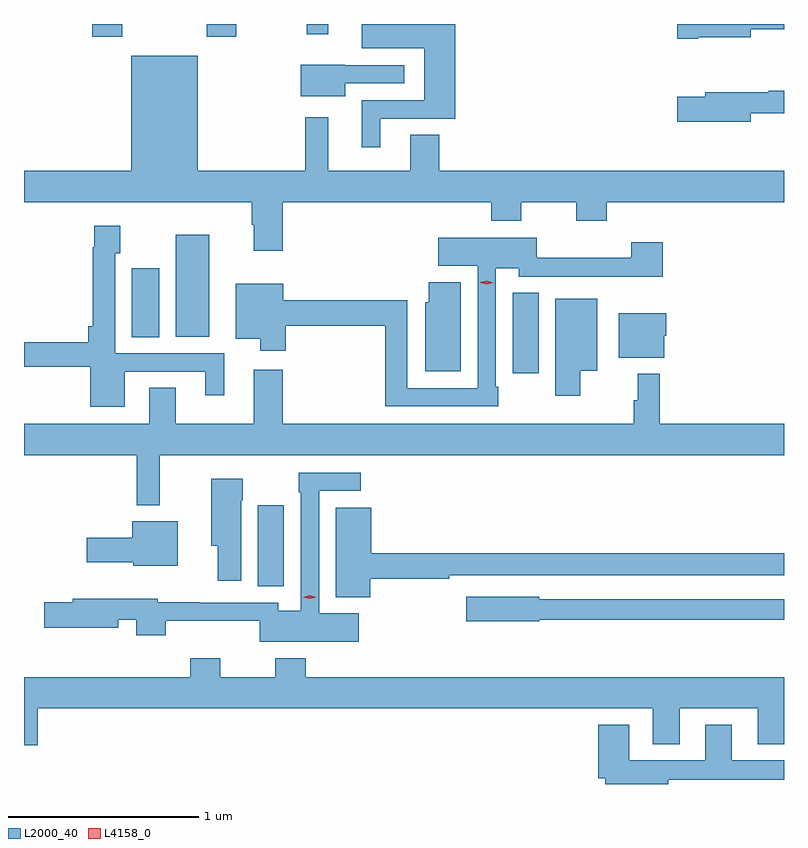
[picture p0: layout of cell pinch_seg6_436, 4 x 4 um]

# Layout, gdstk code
import gdstk
lib = gdstk.Library(unit=1e-6, precision=1e-09)
def R(c, l, rs):  # rectangles x0, y0, x1, y1
    for r in rs: c.add(gdstk.rectangle(r[:2], r[2:], *l))
def P(c, l, *ps):  # polygons
    for p in ps: c.add(gdstk.Polygon(p, *l))
L2000_40 = (2000, 40)
L4158_0 = (4158, 0)

pinch_seg6_436 = lib.new_cell('pinch_seg6_436')
R(pinch_seg6_436, L2000_40, [(707.474,921.337,707.611,921.763), (708.815,922.458,708.952,922.883), (706.811,922.648,706.954,923.011), (707.042,922.652,707.218,923.188), (706.601,924.231,706.761,924.297), (707.206,924.231,707.361,924.297), (707.731,924.243,707.845,924.297)])
P(pinch_seg6_436, L2000_40, [(708.118,923.799),(708.514,923.799),(708.514,924.297),(708.02,924.297),(708.02,924.17),(708.35,924.17),(708.35,923.895),(708.02,923.895),(708.02,923.649),(708.118,923.649)],
  [(709.792,924.227),(710.068,924.227),(710.068,924.27),(710.243,924.27),(710.243,924.297),(709.68,924.297),(709.68,924.22),(709.792,924.22)],
  [(707.606,923.36),(708.701,923.36),(708.701,923.261),(708.861,923.261),(708.861,923.36),(709.15,923.36),(709.15,923.261),(709.31,923.261),(709.31,923.36),(710.243,923.36),(710.243,923.524),(708.428,923.524),(708.428,923.714),(708.275,923.714),(708.275,923.524),(707.845,923.524),(707.845,923.806),(707.724,923.806),(707.724,923.524),(707.158,923.524),(707.158,924.13),(706.808,924.13),(706.808,923.524),(706.243,923.524),(706.243,923.36),(707.441,923.36),(707.441,923.24),(707.453,923.24),(707.453,923.103),(707.606,923.103)],
  [(707.935,923.985),(708.244,923.985),(708.244,924.081),(707.931,924.081),(707.931,924.082),(707.7,924.082),(707.7,923.918),(707.935,923.918)],
  [(710.068,923.826),(710.243,923.826),(710.243,923.947),(710.164,923.947),(710.164,923.939),(709.829,923.939),(709.829,923.913),(709.68,923.913),(709.68,923.783),(710.068,923.783)],
  [(706.774,922.467),(707.198,922.467),(707.198,922.344),(707.296,922.344),(707.296,922.563),(706.722,922.563),(706.722,923.091),(706.749,923.091),(706.749,923.236),(706.614,923.236),(706.614,923.123),(706.606,923.123),(706.606,922.705),(706.58,922.705),(706.58,922.622),(706.243,922.622),(706.243,922.494),(706.592,922.494),(706.592,922.283),(706.774,922.283)],
  [(708.739,922.387),(708.726,922.387),(708.726,923.012),(708.846,923.012),(708.846,922.968),(709.357,922.968),(709.357,922.967),(709.604,922.967),(709.604,923.149),(709.439,923.149),(709.439,923.066),(708.942,923.066),(708.942,923.173),(708.423,923.173),(708.423,923.024),(708.63,923.024),(708.63,922.38),(708.261,922.38),(708.261,922.844),(707.608,922.844),(707.608,922.93),(707.357,922.93),(707.357,922.64),(707.486,922.64),(707.486,922.578),(707.621,922.578),(707.621,922.708),(708.145,922.708),(708.145,922.284),(708.739,922.284)],
  [(708.541,922.939),(708.374,922.939),(708.374,922.833),(708.356,922.833),(708.356,922.469),(708.541,922.469)],
  [(709.17,922.472),(709.261,922.472),(709.261,922.852),(709.04,922.852),(709.04,922.341),(709.17,922.341)],
  [(709.612,922.656),(709.624,922.656),(709.624,922.774),(709.373,922.774),(709.373,922.541),(709.612,922.541)],
  [(706.958,922.028),(710.243,922.028),(710.243,922.192),(709.589,922.192),(709.589,922.456),(709.472,922.456),(709.472,922.316),(709.453,922.316),(709.453,922.192),(707.606,922.192),(707.606,922.477),(707.453,922.477),(707.453,922.192),(707.041,922.192),(707.041,922.382),(706.901,922.382),(706.901,922.192),(706.243,922.192),(706.243,922.028),(706.837,922.028),(706.837,921.765),(706.958,921.765)],
  [(708.004,921.196),(707.796,921.196),(707.796,921.84),(708.016,921.84),(708.016,921.936),(707.688,921.936),(707.688,921.833),(707.7,921.833),(707.7,921.208),(707.58,921.208),(707.58,921.252),(707.168,921.252),(707.168,921.254),(706.947,921.254),(706.947,921.272),(706.499,921.272),(706.499,921.254),(706.35,921.254),(706.35,921.119),(706.738,921.119),(706.738,921.162),(706.835,921.162),(706.835,921.08),(706.988,921.08),(706.988,921.155),(707.484,921.155),(707.484,921.047),(708.004,921.047)],
  [(707.386,921.791),(707.394,921.791),(707.394,921.904),(707.228,921.904),(707.228,921.551),(707.264,921.551),(707.264,921.366),(707.386,921.366)],
  [(708.066,921.376),(708.482,921.376),(708.482,921.396),(710.243,921.396),(710.243,921.512),(708.07,921.512),(708.07,921.751),(707.885,921.751),(707.885,921.281),(708.066,921.281)],
  [(707.053,921.679),(706.814,921.679),(706.814,921.594),(706.572,921.594),(706.572,921.464),(706.818,921.464),(706.818,921.446),(707.053,921.446)],
  [(708.954,921.162),(710.243,921.162),(710.243,921.27),(708.954,921.27),(708.954,921.283),(708.57,921.283),(708.57,921.154),(708.954,921.154)],
  [(706.316,920.696),(709.553,920.696),(709.553,920.506),(709.693,920.506),(709.693,920.696),(710.105,920.696),(710.105,920.506),(710.243,920.506),(710.243,920.86),(707.726,920.86),(707.726,920.959),(707.566,920.959),(707.566,920.86),(707.277,920.86),(707.277,920.959),(707.117,920.959),(707.117,920.86),(706.243,920.86),(706.243,920.502),(706.316,920.502)],
  [(709.633,920.32),(710.243,920.32),(710.243,920.421),(709.969,920.421),(709.969,920.608),(709.829,920.608),(709.829,920.421),(709.429,920.421),(709.429,920.608),(709.265,920.608),(709.265,920.328),(709.301,920.328),(709.301,920.297),(709.633,920.297)])
P(pinch_seg6_436, L4158_0, [(708.679,922.926),(708.644,922.936),(708.644,922.936),(708.644,922.937),(708.679,922.946),(708.714,922.935),(708.714,922.935),(708.714,922.935)],
  [(707.747,921.271),(707.713,921.281),(707.712,921.281),(707.713,921.281),(707.747,921.291),(707.782,921.281),(707.782,921.281),(707.782,921.281)])

lib.write_gds('pinch_seg6_436.gds')
